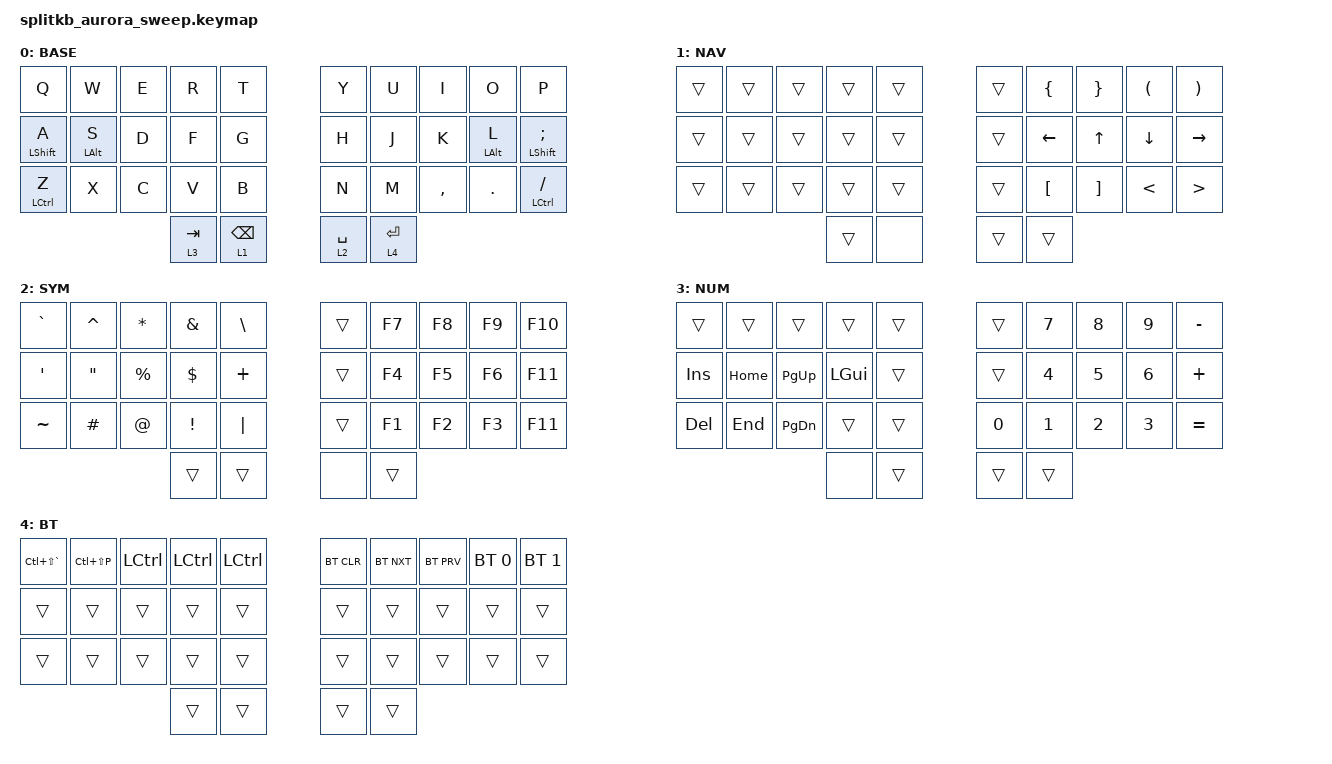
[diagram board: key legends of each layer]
/*
 * Copyright (c) 2022 The ZMK Contributors
 *
 * SPDX-License-Identifier: MIT
 */

#include <behaviors.dtsi>
#include <dt-bindings/zmk/keys.h>
#include <dt-bindings/zmk/bt.h>

&mt {
    flavor = "tap-preferred";
    tapping_term_ms = <200>;
};

/ {
    behaviors {
        hm: homerow_mods {
            compatible = "zmk,behavior-hold-tap";
            label = "HOMEROW_MODS";
            #binding-cells = <2>;
            tapping-term-ms = <180>;
            quick-tap-ms = <0>;
            flavor = "tap-preferred";
            bindings =
                <&kp>,
                <&kp>;
        };
    };

    combos {
        compatible = "zmk,combos";

        combo_esc {
            timeout-ms = <50>;
            key-positions = <0 9>;
            bindings = <&kp ESC>;
        };

        combo_caps {
            bindings = <&caps_word>;
            key-positions = <10 19>;
        };

        combo_minus {
            bindings = <&kp MINUS>;
            key-positions = <3 6>;
        };

        combo_under {
            bindings = <&kp UNDER>;
            key-positions = <13 16>;
        };
    };

    keymap {
        compatible = "zmk,keymap";

        BASE {
            bindings = <
      &kp Q           &kp W  &kp E      &kp R            &kp T        &kp Y        &kp U      &kp I           &kp O            &kp P
&hm LSHFT A  &hm LEFT_ALT S  &kp D      &kp F            &kp G        &kp H        &kp J      &kp K  &hm LEFT_ALT L   &hm LSHFT SEMI
&hm LCTRL Z           &kp X  &kp C      &kp V            &kp B        &kp N        &kp M  &kp COMMA         &kp DOT  &hm LCTRL SLASH
                                    &lt 3 TAB  &lt 1 BACKSPACE  &lt 2 SPACE  &lt 4 ENTER
            >;
        };

        NAV {
            bindings = <
&trans  &trans  &trans  &trans  &trans  &trans    &kp LEFT_BRACE    &kp RIGHT_BRACE  &kp LEFT_PARENTHESIS  &kp RIGHT_PARENTHESIS
&trans  &trans  &trans  &trans  &trans  &trans          &kp LEFT             &kp UP              &kp DOWN              &kp RIGHT
&trans  &trans  &trans  &trans  &trans  &trans  &kp LEFT_BRACKET  &kp RIGHT_BRACKET         &kp LESS_THAN       &kp GREATER_THAN
                        &trans   &none  &trans            &trans
            >;
        };

        SYM {
            bindings = <
       &kp GRAVE          &kp CARET    &kp ASTRK  &kp AMPS  &kp BSLH  &trans  &kp F7  &kp F8  &kp F9  &kp F10
&kp SINGLE_QUOTE  &kp DOUBLE_QUOTES  &kp PERCENT  &kp DLLR  &kp PLUS  &trans  &kp F4  &kp F5  &kp F6  &kp F11
       &kp TILDE           &kp HASH       &kp AT  &kp EXCL  &kp PIPE  &trans  &kp F1  &kp F2  &kp F3  &kp F11
                                                    &trans    &trans   &none  &trans
            >;
        };

        NUM {
            bindings = <
 &trans    &trans         &trans    &trans  &trans        &trans  &kp NUMBER_7  &kp NUMBER_8  &kp NUMBER_9  &kp MINUS
&kp INS  &kp HOME    &kp PAGE_UP  &kp LGUI  &trans        &trans  &kp NUMBER_4  &kp NUMBER_5  &kp NUMBER_6   &kp PLUS
&kp DEL   &kp END  &kp PAGE_DOWN    &trans  &trans  &kp NUMBER_0  &kp NUMBER_1  &kp NUMBER_2  &kp NUMBER_3  &kp EQUAL
                                     &none  &trans        &trans        &trans
            >;
        };

        BT {
            bindings = <
   &kp LC(LS(GRAVE)) &kp LC(LS(P))  &kp LCTRL  &kp LCTRL  &kp LCTRL  &bt BT_CLR  &bt BT_NXT  &bt BT_PRV  &bt BT_SEL 0  &bt BT_SEL 1
   &trans     &trans     &trans     &trans     &trans      &trans      &trans      &trans        &trans        &trans
   &trans     &trans     &trans     &trans     &trans      &trans      &trans      &trans        &trans        &trans
                                    &trans     &trans      &trans      &trans
            >;
        };
    };
};
